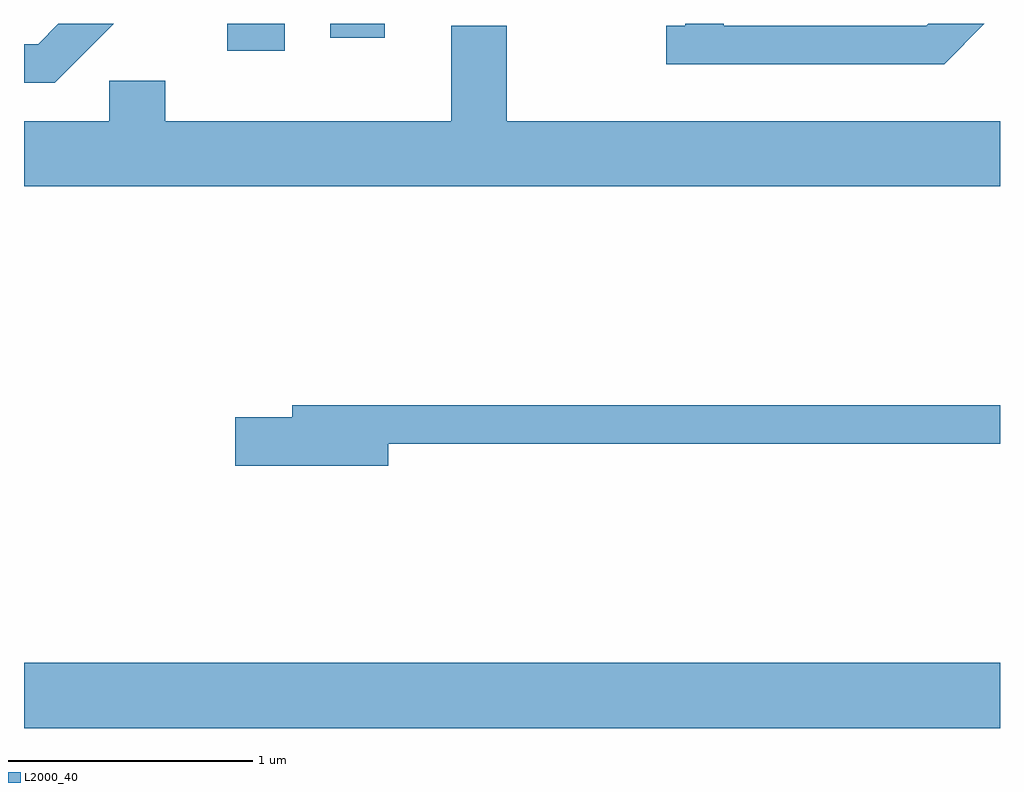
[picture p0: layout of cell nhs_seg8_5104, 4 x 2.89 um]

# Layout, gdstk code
import gdstk
lib = gdstk.Library(unit=1e-6, precision=1e-09)
def R(c, l, rs):  # rectangles x0, y0, x1, y1
    for r in rs: c.add(gdstk.rectangle(r[:2], r[2:], *l))
def P(c, l, *ps):  # polygons
    for p in ps: c.add(gdstk.Polygon(p, *l))
L2000_40 = (2000, 40)

nhs_seg8_5104 = lib.new_cell('nhs_seg8_5104')
R(nhs_seg8_5104, L2000_40, [(337.611,1907.456,341.611,1907.724), (338.443,1910.231,338.679,1910.342), (338.866,1910.286,339.089,1910.342)])
P(nhs_seg8_5104, L2000_40, [(337.978,1910.342),(337.751,1910.342),(337.669,1910.259),(337.611,1910.259),(337.611,1910.101),(337.737,1910.101)],
  [(341.547,1910.342),(341.317,1910.342),(341.309,1910.334),(340.479,1910.334),(340.479,1910.342),(340.321,1910.342),(340.321,1910.334),(340.243,1910.334),(340.243,1910.176),(341.382,1910.176)],
  [(341.611,1909.944),(339.589,1909.944),(339.589,1910.334),(339.361,1910.334),(339.361,1909.944),(338.189,1909.944),(338.189,1910.109),(337.961,1910.109),(337.961,1909.944),(337.611,1909.944),(337.611,1909.676),(341.611,1909.676)],
  [(339.104,1908.621),(341.611,1908.621),(341.611,1908.779),(338.711,1908.779),(338.711,1908.729),(338.476,1908.729),(338.476,1908.531),(339.104,1908.531)])

lib.write_gds('nhs_seg8_5104.gds')
